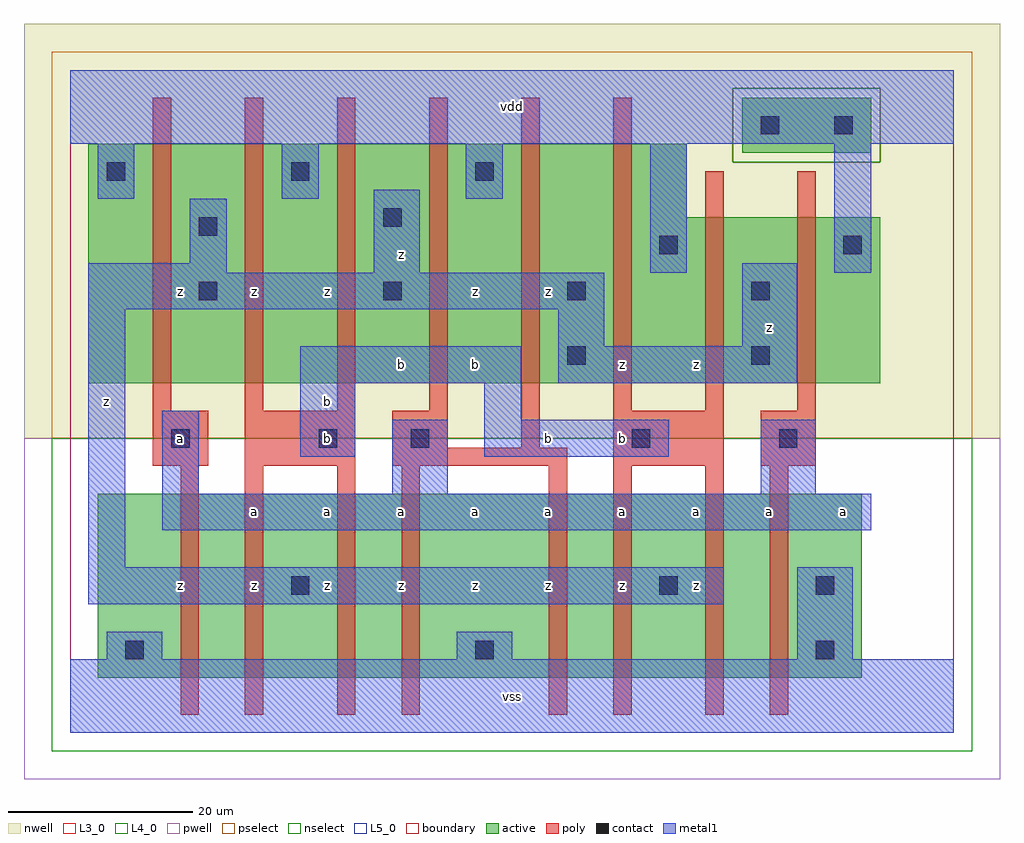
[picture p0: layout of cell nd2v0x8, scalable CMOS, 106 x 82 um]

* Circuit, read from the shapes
.subckt nd2v0x8 a b vdd vss z
M1 n1 a vss VSUBS nfet w=20u l=2u
M2 z b n1 VSUBS nfet w=20u l=2u
M3 n2 b z VSUBS nfet w=20u l=2u
M4 vss a n2 VSUBS nfet w=20u l=2u
M5 n3 a vss VSUBS nfet w=20u l=2u
M6 z b n3 VSUBS nfet w=20u l=2u
M7 n4 b z VSUBS nfet w=20u l=2u
M8 vss a n4 VSUBS nfet w=20u l=2u
M9 z a vdd vdd pfet w=26u l=2u m=3
M10 vdd b z vdd pfet w=26u l=2u m=3
M11 z b vdd vdd pfet w=18u l=2u
M12 vdd a z vdd pfet w=18u l=2u
.ends

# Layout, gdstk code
import gdstk
lib = gdstk.Library(unit=1e-6, precision=1e-09)
def R(c, l, rs):  # rectangles x0, y0, x1, y1
    for r in rs: c.add(gdstk.rectangle(r[:2], r[2:], *l))
def A(c, l, x, y, w, h, nx, ny, dx, dy):  # array of equal rectangles
    R(c, l, [(x+i*dx, y+j*dy, x+i*dx+w, y+j*dy+h) for i in range(nx) for j in range(ny)])
L3_0 = (3, 0)
L4_0 = (4, 0)
L5_0 = (5, 0)
contact = (25, 0)
pwell = (41, 0)
nwell = (42, 0)
active = (43, 0)
pselect = (44, 0)
nselect = (45, 0)
poly = (46, 0)
metal1 = (49, 0)
boundary = (63, 0)

nd2v0x8 = lib.new_cell('nd2v0x8')
R(nd2v0x8, L3_0, [(3,6,86,26)])
R(nd2v0x8, L4_0, [(2,38,88,56), (2,56,67,64)])
R(nd2v0x8, L5_0, [(73,63,87,69)])
A(nd2v0x8, contact, 14, 47, 2, 2, 4, 1, 20, 0)
A(nd2v0x8, contact, 4, 60, 2, 2, 3, 1, 20, 0)
R(nd2v0x8, contact, [(6,8,8,10), (44,8,46,10), (81,8,83,10), (24,15,26,17), (64,15,66,17), (81,15,83,17), (11,31,13,33), (27,31,29,33), (37,31,39,33), (61,31,63,33), (77,31,79,33), (54,40,56,42), (74,40,76,42), (64,52,66,54), (84,52,86,54), (14,54,16,56), (34,55,36,57), (75,65,77,67), (83,65,85,67)])
R(nd2v0x8, pwell, [(-5,-5,101,32)])
R(nd2v0x8, nwell, [(-5,32,101,77)])
R(nd2v0x8, active, [(3,6,86,26), (2,38,88,56), (2,56,67,64), (73,63,87,69)])
R(nd2v0x8, pselect, [(-2,32,98,62), (-2,62,72,70), (88,62,98,70), (-2,70,98,74)])
R(nd2v0x8, nselect, [(-2,-2,98,32), (72,62,88,70)])
A(nd2v0x8, poly, 9, 35, 2, 34, 4, 1, 10, 0)
R(nd2v0x8, poly, [(12,2,14,29), (19,2,21,29), (29,2,31,29), (36,2,38,29), (52,2,54,29), (59,2,61,29), (69,2,71,29), (76,2,78,29), (9,29,15,35), (19,29,31,35), (35,29,54,31), (59,29,71,35), (75,29,81,35), (35,31,41,35), (49,31,51,69), (59,35,61,69), (69,35,71,61), (79,35,81,61)])
A(nd2v0x8, metal1, 3, 58, 4, 6, 3, 1, 20, 0)
R(nd2v0x8, metal1, [(0,0,96,8), (4,8,10,11), (42,8,48,11), (79,8,85,18), (2,14,71,18), (2,18,6,46), (10,22,87,26), (10,26,14,35), (35,26,41,34), (75,26,81,34), (25,30,31,38), (45,30,65,34), (45,34,49,38), (25,38,49,42), (53,38,79,42), (53,42,58,46), (73,42,79,51), (2,46,58,50), (2,50,17,51), (33,50,38,59), (63,50,67,64), (83,50,87,64), (13,51,17,58), (0,64,96,72)])
R(nd2v0x8, boundary, [(0,0,96,72)])
nd2v0x8.add(gdstk.Label('z', (12,16), layer=49, texttype=0))
nd2v0x8.add(gdstk.Label('a', (12,32), layer=49, texttype=0))
nd2v0x8.add(gdstk.Label('z', (4,36), layer=49, texttype=0))
nd2v0x8.add(gdstk.Label('z', (12,48), layer=49, texttype=0))
nd2v0x8.add(gdstk.Label('z', (28,16), layer=49, texttype=0))
nd2v0x8.add(gdstk.Label('z', (20,16), layer=49, texttype=0))
nd2v0x8.add(gdstk.Label('a', (20,24), layer=49, texttype=0))
nd2v0x8.add(gdstk.Label('a', (28,24), layer=49, texttype=0))
nd2v0x8.add(gdstk.Label('b', (28,32), layer=49, texttype=0))
nd2v0x8.add(gdstk.Label('b', (28,36), layer=49, texttype=0))
nd2v0x8.add(gdstk.Label('z', (20,48), layer=49, texttype=0))
nd2v0x8.add(gdstk.Label('z', (28,48), layer=49, texttype=0))
nd2v0x8.add(gdstk.Label('vss', (48,4), layer=49, texttype=0))
nd2v0x8.add(gdstk.Label('z', (44,16), layer=49, texttype=0))
nd2v0x8.add(gdstk.Label('z', (52,16), layer=49, texttype=0))
nd2v0x8.add(gdstk.Label('z', (36,16), layer=49, texttype=0))
nd2v0x8.add(gdstk.Label('a', (36,24), layer=49, texttype=0))
nd2v0x8.add(gdstk.Label('a', (44,24), layer=49, texttype=0))
nd2v0x8.add(gdstk.Label('a', (52,24), layer=49, texttype=0))
nd2v0x8.add(gdstk.Label('b', (52,32), layer=49, texttype=0))
nd2v0x8.add(gdstk.Label('b', (36,40), layer=49, texttype=0))
nd2v0x8.add(gdstk.Label('b', (44,40), layer=49, texttype=0))
nd2v0x8.add(gdstk.Label('z', (36,52), layer=49, texttype=0))
nd2v0x8.add(gdstk.Label('z', (44,48), layer=49, texttype=0))
nd2v0x8.add(gdstk.Label('z', (52,48), layer=49, texttype=0))
nd2v0x8.add(gdstk.Label('vdd', (48,68), layer=49, texttype=0))
nd2v0x8.add(gdstk.Label('z', (68,16), layer=49, texttype=0))
nd2v0x8.add(gdstk.Label('z', (60,16), layer=49, texttype=0))
nd2v0x8.add(gdstk.Label('a', (60,24), layer=49, texttype=0))
nd2v0x8.add(gdstk.Label('a', (68,24), layer=49, texttype=0))
nd2v0x8.add(gdstk.Label('a', (76,24), layer=49, texttype=0))
nd2v0x8.add(gdstk.Label('b', (60,32), layer=49, texttype=0))
nd2v0x8.add(gdstk.Label('z', (60,40), layer=49, texttype=0))
nd2v0x8.add(gdstk.Label('z', (68,40), layer=49, texttype=0))
nd2v0x8.add(gdstk.Label('z', (76,44), layer=49, texttype=0))
nd2v0x8.add(gdstk.Label('a', (84,24), layer=49, texttype=0))

lib.write_gds('nd2v0x8.gds')
